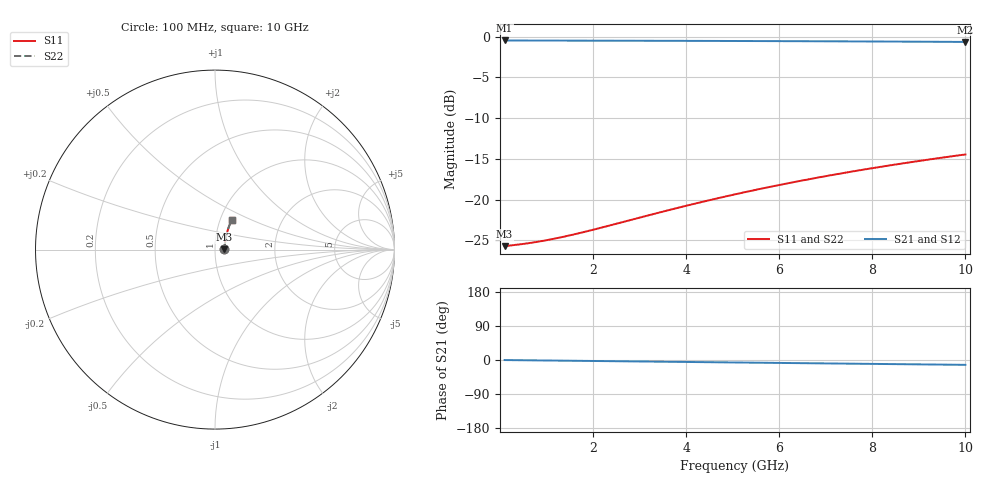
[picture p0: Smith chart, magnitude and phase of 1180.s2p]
# Hz S RI R 50.00
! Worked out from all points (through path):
!   100 points, 100 MHz to 10 GHz, reference 50 ohm
!   highest |S21| = -0.46 dB at 100 MHz (marker M1); lowest = -0.6 dB at 10 GHz (marker M2)
!   group delay of S21, straight-line fit = 3.55 ps
!   lowest |S11| = -25.7 dB at 100 MHz (marker M3), VSWR 1.11, Z = 55.5 + j0.193 ohm
!   |S11| at or under -10 dB: start of sweep to end of sweep
!   |S22| runs from -25.7 to -14.4 dB; largest |S21 - S12| = 0
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1e8  0.0519 0.00174  0.9481 -0.00214  0.9481 -0.00214  0.0519 0.00174
5e8  0.0529 0.00867  0.9471 -0.0107  0.9471 -0.0107  0.0529 0.00867
7e8  0.0532 0.0121  0.9468 -0.015  0.9468 -0.015  0.0532 0.0121
9e8  0.0535 0.0156  0.9464 -0.0192  0.9464 -0.0192  0.0535 0.0156
1.1e9  0.0539 0.019  0.9461 -0.0235  0.9461 -0.0235  0.0539 0.019
1.3e9  0.0542 0.0225  0.9458 -0.0278  0.9458 -0.0278  0.0542 0.0225
1.5e9  0.0546 0.0259  0.9454 -0.032  0.9454 -0.032  0.0546 0.0259
1.8e9  0.0552 0.0311  0.9448 -0.0384  0.9448 -0.0384  0.0552 0.0311
2.3e9  0.0562 0.0397  0.9437 -0.049  0.9437 -0.049  0.0562 0.0397
3.4e9  0.0591 0.0584  0.9408 -0.0722  0.9408 -0.0722  0.0591 0.0584
3.9e9  0.0606 0.0669  0.9392 -0.0827  0.9392 -0.0827  0.0606 0.0669
4.3e9  0.062 0.0736  0.9378 -0.0911  0.9378 -0.0911  0.062 0.0736
4.7e9  0.0635 0.0803  0.9363 -0.0994  0.9363 -0.0994  0.0635 0.0803
5.1e9  0.0651 0.087  0.9347 -0.1077  0.9347 -0.1077  0.0651 0.087
5.5e9  0.0668 0.0936  0.9329 -0.116  0.9329 -0.116  0.0668 0.0936
5.9e9  0.0686 0.1002  0.9311 -0.1242  0.9311 -0.1242  0.0686 0.1002
6.3e9  0.0705 0.1068  0.9291 -0.1323  0.9291 -0.1323  0.0705 0.1068
6.7e9  0.0726 0.1133  0.927 -0.1405  0.927 -0.1405  0.0726 0.1133
7.5e9  0.077 0.1261  0.9225 -0.1566  0.9225 -0.1566  0.077 0.1261
8.4e9  0.0825 0.1403  0.9169 -0.1745  0.9169 -0.1745  0.0825 0.1403
9.2e9  0.0878 0.1527  0.9115 -0.1901  0.9115 -0.1901  0.0878 0.1527
1e10  0.0935 0.1649  0.9057 -0.2055  0.9057 -0.2055  0.0935 0.1649
